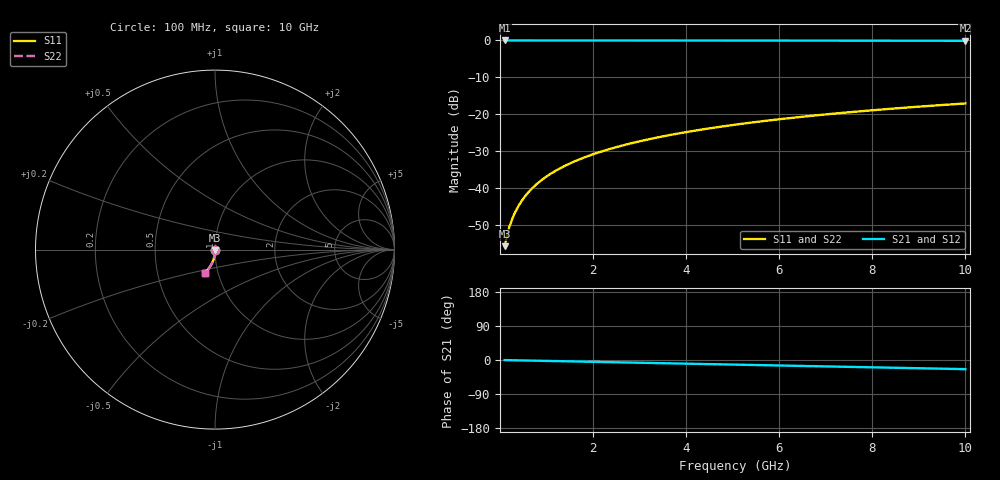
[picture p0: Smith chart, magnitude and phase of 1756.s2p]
# Hz S RI R 50.00
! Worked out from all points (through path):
!   100 points, 100 MHz to 10 GHz, reference 50 ohm
!   highest |S21| = -0.01 dB at 100 MHz (marker M1); lowest = -0.1 dB at 10 GHz (marker M2)
!   group delay of S21, straight-line fit = 6.7 ps
!   lowest |S11| = -55.6 dB at 100 MHz (marker M3), VSWR 1.00, Z = 50.1 - j0.145 ohm
!   |S11| at or under -10 dB: start of sweep to end of sweep
!   |S22| runs from -55.6 to -17.0 dB; largest |S21 - S12| = 0
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1e8  0.000803 -0.00145  0.9992 -0.00421  0.9992 -0.00421  0.000803 -0.00145
2e8  0.000787 -0.0029  0.9991 -0.00841  0.9991 -0.00841  0.000787 -0.0029
3e8  0.000758 -0.00434  0.9991 -0.0126  0.9991 -0.0126  0.000758 -0.00434
4e8  0.000716 -0.00579  0.999 -0.0168  0.999 -0.0168  0.000716 -0.00579
5e8  0.000662 -0.00724  0.9989 -0.021  0.9989 -0.021  0.000662 -0.00724
6e8  0.000595 -0.00869  0.9988 -0.0252  0.9988 -0.0252  0.000595 -0.00869
7e8  0.000515 -0.0101  0.9987 -0.0294  0.9987 -0.0294  0.000515 -0.0101
8e8  0.000423 -0.0116  0.9985 -0.0336  0.9985 -0.0336  0.000423 -0.0116
9e8  0.000319 -0.013  0.9983 -0.0378  0.9983 -0.0378  0.000319 -0.013
1.1e9  7.38e-05 -0.0159  0.9979 -0.0462  0.9979 -0.0462  7.38e-05 -0.0159
1.4e9  -0.000386 -0.0202  0.9972 -0.0588  0.9972 -0.0588  -0.000386 -0.0202
1.8e9  -0.00117 -0.026  0.9959 -0.0756  0.9959 -0.0756  -0.00117 -0.026
2.1e9  -0.00188 -0.0303  0.9947 -0.0882  0.9947 -0.0882  -0.00188 -0.0303
2.5e9  -0.00301 -0.036  0.9929 -0.1049  0.9929 -0.1049  -0.00301 -0.036
2.9e9  -0.00432 -0.0416  0.9907 -0.1216  0.9907 -0.1216  -0.00432 -0.0416
3.4e9  -0.00623 -0.0486  0.9876 -0.1424  0.9876 -0.1424  -0.00623 -0.0486
4.2e9  -0.00989 -0.0597  0.9816 -0.1755  0.9816 -0.1755  -0.00989 -0.0597
5.1e9  -0.0149 -0.0718  0.9734 -0.2124  0.9734 -0.2124  -0.0149 -0.0718
5.9e9  -0.0201 -0.0822  0.9647 -0.2449  0.9647 -0.2449  -0.0201 -0.0822
6.7e9  -0.026 -0.0922  0.9549 -0.277  0.9549 -0.277  -0.026 -0.0922
8.4e9  -0.0406 -0.1121  0.9302 -0.3436  0.9302 -0.3436  -0.0406 -0.1121
1e10  -0.0569 -0.1286  0.9024 -0.4042  0.9024 -0.4042  -0.0569 -0.1286
